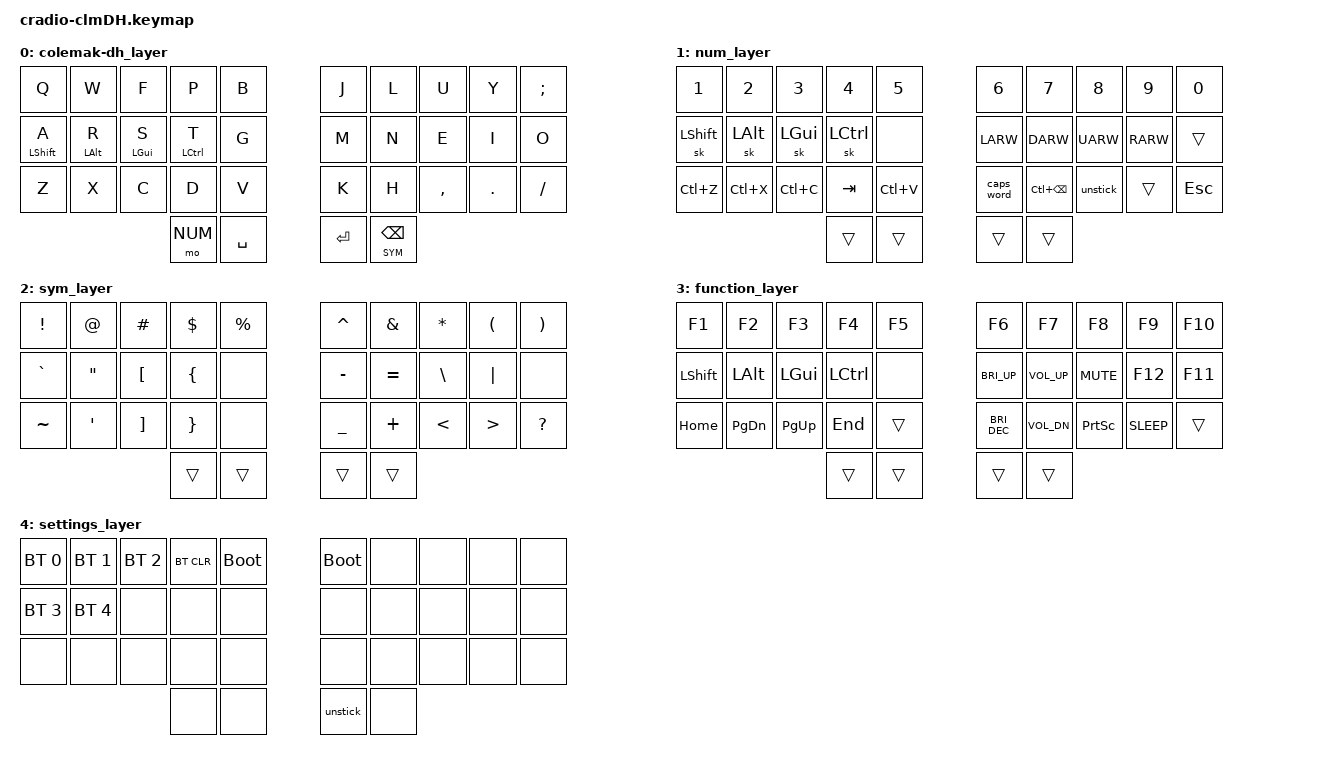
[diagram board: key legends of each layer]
// COPYright (c) 2025 The ZMK Contributors
// SPDX-License-Identifier: MIT
// Config by Xuân Trường 

#include <behaviors.dtsi>
#include <dt-bindings/zmk/keys.h>
#include <dt-bindings/zmk/bt.h>

#define COL 0
#define NUM 1
#define SYM 2
#define FUN 3
#define SET 4

/ {
    macros {
        unstick: unstick {
            compatible = "zmk,behavior-macro";
            #binding-cells = <0>;
            bindings = <&kp LSHIFT &kp RSHIFT &kp LCTRL &kp RCTRL
                        &kp LALT &kp RALT &kp LGUI &kp RGUI>;
        };
    };

    behaviors {
        sk {
            release-after-ms = <2000>;
            quick-release;
        };

        caps_word {
            continue-list = <UNDERSCORE MINUS BACKSPACE DELETE>;
        };

        lt_custom: layer_tap_custom {
            compatible = "zmk,behavior-hold-tap";
            #binding-cells = <2>;
            flavor = "balanced";
            tapping-term-ms = <160>;
            quick-tap-ms = <150>;
            require-prior-idle-ms = <50>;
            bindings = <&mo>, <&kp>;
        };

        hm: homerow_mod {
            compatible = "zmk,behavior-hold-tap";
            #binding-cells = <2>;
            flavor = "balanced";
            tapping-term-ms = <400>;
            quick-tap-ms = <150>;
            require-prior-idle-ms = <200>;
            bindings = <&kp>, <&kp>;
        };
    };

    combos {
        /*
        | 0  | 1  | 2  | 3  | 4  |      | 5  | 6  | 7  | 8  | 9  |
        | 10 | 11 | 12 | 13 | 14 |      | 15 | 16 | 17 | 18 | 19 |
        | 20 | 21 | 22 | 23 | 24 |      | 25 | 26 | 27 | 28 | 29 |
                       | 30 | 31 |      | 32 | 33 |
        */ 
        compatible = "zmk,combos";

        combo_esc_ei {
            timeout-ms = <50>;
            key-positions = <17 18>;
            bindings = <&kp ESC>;
            layers = <COL>;
        };

        combo_settings {
            timeout-ms = <300>;
            key-positions = <30 31>;
            bindings = <&mo SET>;
        };
    };

    conditional_layers {
        compatible = "zmk,conditional-layers";
        tri_layer {
            if-layers = <SYM NUM>;
            then-layer = <FUN>;
        };
    };

    keymap {
        compatible = "zmk,keymap";

        colemak-dh_layer {
            // Base (Colemak-DH)
            // ┌─────┬─────┬─────┬─────┬─────┐   ┌─────┬─────┬─────┬─────┬─────┐
            // │  Q  │  W  │  F  │  P  │  B  │   │  J  │  L  │  U  │  Y  │  ;  │
            // ├─────┼─────┼─────┼─────┼─────┤   ├─────┼─────┼─────┼─────┼─────┤
            // │  A  │  R  │  S  │  T  │  G  │   │  M  │  N  │  E  │  I  │  O  │
            // │ SFT*│ ALT*│ GUI*│ CTL*│     │   │     │     │    ESC    │     │
            // ├─────┼─────┼─────┼─────┼─────┤   ├─────┼─────┼─────┼─────┼─────┤
            // │  Z  │  X  │  C  │  D  │  V  │   │  K  │  H  │  ,  │  .  │  /  │
            // └─────┴─────┴─────┼─────┼─────┤   ├─────┼─────┼─────┴─────┴─────┘
            //                   │ NUM │SPACE│   │ENTER│BSPC │
            //  (* HOME ROW MOD) │     │     │   │     │ SYM │
            //                   └─────┴─────┘   └─────┴─────┘
            bindings = <
            &kp Q        &kp W       &kp F        &kp P        &kp B      &kp J      &kp L        &kp U      &kp Y    &kp SEMI
            &hm LSHIFT A &hm LALT R  &hm LGUI S   &hm LCTRL T  &kp G      &kp M      &kp N        &kp E      &kp I    &kp O
            &kp Z        &kp X       &kp C        &kp D        &kp V      &kp K      &kp H        &kp COMMA  &kp DOT  &kp FSLH
                                                  &mo NUM      &kp SPACE  &kp ENTER  &lt_custom SYM BSPC
            >;
        };

        num_layer {
            // NUM (Numbers + Nav + Edit)
            // ┌─────┬─────┬─────┬─────┬─────┐   ┌─────┬─────┬─────┬─────┬─────┐
            // │  1  │  2  │  3  │  4  │  5  │   │  6  │  7  │  8  │  9  │  0  │
            // ├─────┼─────┼─────┼─────┼─────┤   ├─────┼─────┼─────┼─────┼─────┤
            // │ SFT*│ ALT*│ GUI*│ CTL*│     │   │  ←  │  ↓  │  ↑  │  →  │     │
            // ├─────┼─────┼─────┼─────┼─────┤   ├─────┼─────┼─────┼─────┼─────┤
            // │UNDO │ CUT │COPY │ TAB │PASTE│   │CAPSW│  ⌫  │UNSTK│     │ ESC │
            // └─────┴─────┴─────┼─────┼─────┤   ├─────┼─────┼─────┴─────┴─────┘
            //        (* STICKY) │     │     │   │     │     │
            //                   └─────┴─────┘   └─────┴─────┘
            bindings = <
            &kp N1     &kp N2    &kp N3    &kp N4    &kp N5     &kp N6     &kp N7       &kp N8    &kp N9   &kp N0
            &sk LSHIFT &sk LALT  &sk LGUI  &sk LCTRL &none      &kp LARW   &kp DARW     &kp UARW  &kp RARW &trans
            &kp LC(Z)  &kp LC(X) &kp LC(C) &kp TAB   &kp LC(V)  &caps_word &kp LC(BSPC) &unstick  &trans   &kp ESC
                                           &trans    &trans     &trans     &trans
            >;
        };

        sym_layer {
            // SYM (Symbols)
            // ┌─────┬─────┬─────┬─────┬─────┐   ┌─────┬─────┬─────┬─────┬─────┐
            // │  !  │  @  │  #  │  $  │  %  │   │  ^  │  &  │  *  │  (  │  )  │
            // ├─────┼─────┼─────┼─────┼─────┤   ├─────┼─────┼─────┼─────┼─────┤
            // │  `  │  "  │  [  │  {  │     │   │  -  │  =  │  \  │  |  │     │
            // ├─────┼─────┼─────┼─────┼─────┤   ├─────┼─────┼─────┼─────┼─────┤
            // │  ~  │  '  │  ]  │  }  │     │   │  _  │  +  │  <  │  >  │  ?  │
            // └─────┴─────┴─────┼─────┼─────┤   ├─────┼─────┼─────┴─────┴─────┘
            //                   │     │     │   │     │     │
            //                   └─────┴─────┘   └─────┴─────┘
            bindings = <
            &kp EXCL  &kp AT  &kp HASH &kp DLLR &kp PRCNT  &kp CARET &kp AMPS  &kp ASTRK &kp LPAR &kp RPAR
            &kp GRAVE &kp DQT &kp LBKT &kp LBRC &none      &kp MINUS &kp EQUAL &kp BSLH  &kp PIPE &none
            &kp TILDE &kp SQT &kp RBKT &kp RBRC &none      &kp UNDER &kp PLUS  &kp LT    &kp GT   &kp QMARK
                                       &trans   &trans     &trans    &trans
            >;
        };

        function_layer {
            // FUN (Fn + Media)
            // ┌─────┬─────┬─────┬─────┬─────┐   ┌─────┬─────┬─────┬─────┬─────┐
            // │ F1  │ F2  │ F3  │ F4  │ F5  │   │ F6  │ F7  │ F8  │ F9  │ F10 │
            // ├─────┼─────┼─────┼─────┼─────┤   ├─────┼─────┼─────┼─────┼─────┤
            // │SHIFT│ ALT │ GUI │ CTRL│     │   │BRI+ │VOL+ │MUTE │ F12 │ F11 │
            // ├─────┼─────┼─────┼─────┼─────┤   ├─────┼─────┼─────┼─────┼─────┤
            // │HOME │PG_DN│PG_UP│ END │     │   │BRI- │VOL- │PSCRN│SLEEP│     │
            // └─────┴─────┴─────┼─────┼─────┤   ├─────┼─────┼─────┴─────┴─────┘
            //                   │     │     │   │     │     │
            //                   └─────┴─────┘   └─────┴─────┘
            bindings = <
            &kp F1     &kp F2    &kp F3    &kp F4    &kp F5  &kp F6        &kp F7       &kp F8     &kp F9      &kp F10
            &kp LSHIFT &kp LALT  &kp LGUI  &kp LCTRL &none   &kp C_BRI_UP  &kp C_VOL_UP &kp C_MUTE &kp F12     &kp F11
            &kp HOME   &kp PG_DN &kp PG_UP &kp END   &trans  &kp C_BRI_DEC &kp C_VOL_DN &kp PSCRN  &kp C_SLEEP &trans
                                           &trans    &trans  &trans        &trans
            >;
        };

        settings_layer {
            // SET (Bluetooth + Unstick + Boot)
            // ┌─────┬─────┬─────┬─────┬─────┐   ┌─────┬─────┬─────┬─────┬─────┐
            // │BT0  │BT1  │BT2  │BTCLR│BOOT │   │BOOT │     │     │     │     │
            // ├─────┼─────┼─────┼─────┼─────┤   ├─────┼─────┼─────┼─────┼─────┤
            // │BT3  │BT4  │BT5  │     │     │   │     │     │     │     │     │
            // ├─────┼─────┼─────┼─────┼─────┤   ├─────┼─────┼─────┼─────┼─────┤
            // │     │     │     │     │     │   │     │     │     │     │     │
            // └─────┴─────┴─────┼─────┼─────┤   ├─────┼─────┼─────┴─────┴─────┘
            //                   │     │     │   │UNSTK│     │
            //                   └─────┴─────┘   └─────┴─────┘
            bindings = <
            &bt BT_SEL 0 &bt BT_SEL 1 &bt BT_SEL 2 &bt BT_CLR &bootloader  &bootloader &none &none &none &none
            &bt BT_SEL 3 &bt BT_SEL 4 &none        &none      &none        &none       &none &none &none &none
            &none        &none        &none        &none      &none        &none       &none &none &none &none
                                                   &none      &none        &unstick    &none
            >;
        };
    };
};
